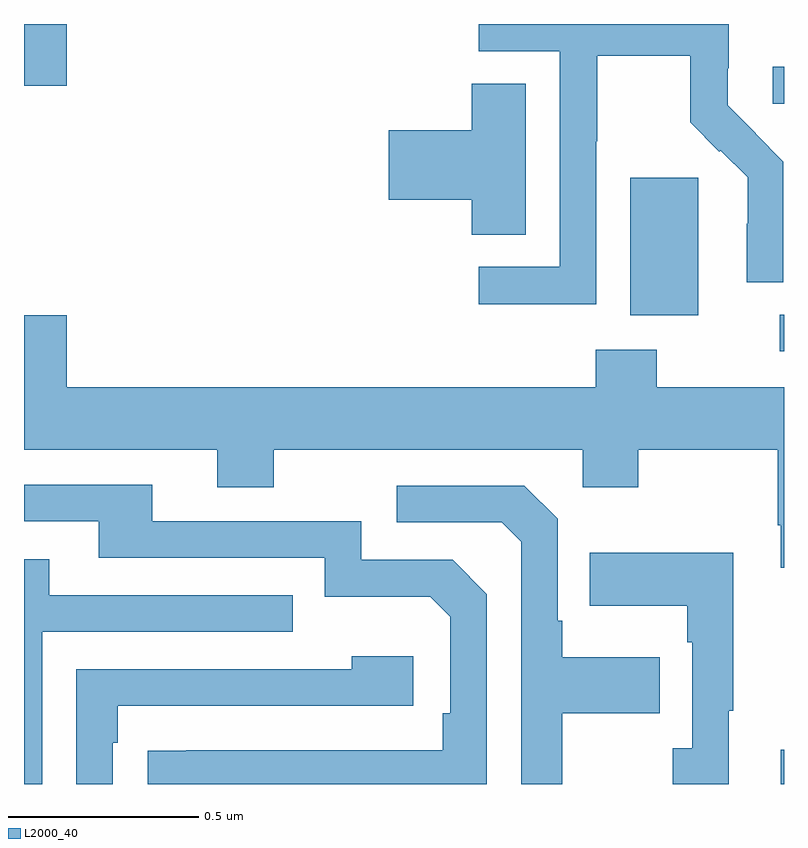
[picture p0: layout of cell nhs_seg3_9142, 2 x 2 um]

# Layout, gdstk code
import gdstk
lib = gdstk.Library(unit=1e-6, precision=1e-09)
def R(c, l, rs):  # rectangles x0, y0, x1, y1
    for r in rs: c.add(gdstk.rectangle(r[:2], r[2:], *l))
def P(c, l, *ps):  # polygons
    for p in ps: c.add(gdstk.Polygon(p, *l))
L2000_40 = (2000, 40)

nhs_seg3_9142 = lib.new_cell('nhs_seg3_9142')
R(nhs_seg3_9142, L2000_40, [(226.991,669.4,227,669.49), (226.989,670.539,227,670.635), (226.595,670.634,226.774,670.995), (226.971,671.19,227,671.287), (225,671.238,225.112,671.4)])
P(nhs_seg3_9142, L2000_40, [(226.506,671.092),(226.509,671.092),(226.509,671.316),(226.753,671.316),(226.753,671.141),(226.83,671.064),(226.833,671.067),(226.904,670.997),(226.904,670.874),(226.902,670.874),(226.902,670.72),(226.998,670.72),(226.998,671.038),(226.925,671.111),(226.926,671.112),(226.852,671.186),(226.852,671.283),(226.854,671.283),(226.854,671.4),(226.197,671.4),(226.197,671.328),(226.41,671.328),(226.41,670.761),(226.197,670.761),(226.197,670.663),(226.506,670.663)],
  [(226.321,671.243),(226.178,671.243),(226.178,671.12),(225.96,671.12),(225.96,670.937),(226.178,670.937),(226.178,670.846),(226.321,670.846)],
  [(227,670.444),(226.665,670.444),(226.665,670.543),(226.505,670.543),(226.505,670.444),(225.112,670.444),(225.112,670.633),(225,670.633),(225,670.28),(225.509,670.28),(225.509,670.181),(225.657,670.181),(225.657,670.28),(226.47,670.28),(226.47,670.181),(226.617,670.181),(226.617,670.28),(226.984,670.28),(226.984,670.081),(226.991,670.081),(226.991,669.969),(227,669.969)],
  [(226.218,669.9),(226.128,669.99),(225.888,669.99),(225.888,670.092),(225.337,670.092),(225.337,670.188),(225,670.188),(225,670.092),(225.197,670.092),(225.197,669.996),(225.792,669.996),(225.792,669.893),(226.069,669.893),(226.122,669.84),(226.122,669.586),(226.102,669.586),(226.102,669.489),(225.427,669.489),(225.427,669.488),(225.325,669.488),(225.325,669.4),(226.218,669.4)],
  [(226.417,669.586),(226.673,669.586),(226.673,669.733),(226.417,669.733),(226.417,669.829),(226.404,669.829),(226.404,670.098),(226.317,670.185),(225.981,670.185),(225.981,670.089),(226.257,670.089),(226.308,670.038),(226.308,669.4),(226.417,669.4)],
  [(226.855,669.593),(226.867,669.593),(226.867,670.009),(226.489,670.009),(226.489,669.869),(226.746,669.869),(226.746,669.773),(226.758,669.773),(226.758,669.494),(226.707,669.494),(226.707,669.4),(226.855,669.4)],
  [(225.048,669.801),(225.707,669.801),(225.707,669.897),(225.067,669.897),(225.067,669.991),(225,669.991),(225,669.4),(225.048,669.4)],
  [(225.234,669.509),(225.247,669.509),(225.247,669.606),(226.024,669.606),(226.024,669.736),(225.863,669.736),(225.863,669.702),(225.138,669.702),(225.138,669.4),(225.234,669.4)])

lib.write_gds('nhs_seg3_9142.gds')
